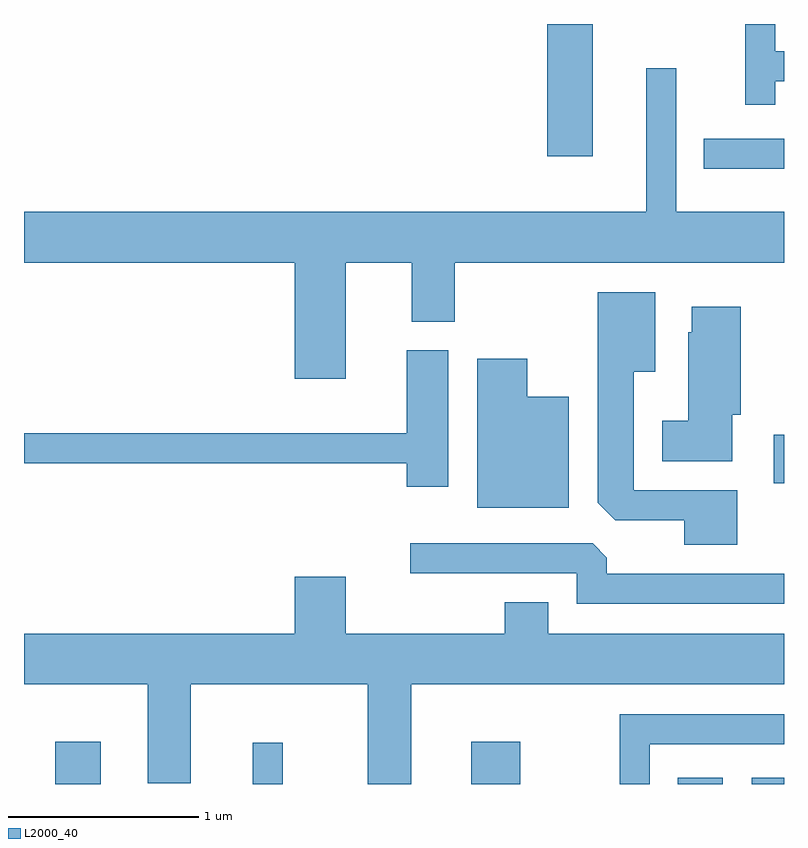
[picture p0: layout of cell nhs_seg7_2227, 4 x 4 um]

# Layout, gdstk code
import gdstk
lib = gdstk.Library(unit=1e-6, precision=1e-09)
def R(c, l, rs):  # rectangles x0, y0, x1, y1
    for r in rs: c.add(gdstk.rectangle(r[:2], r[2:], *l))
def P(c, l, *ps):  # polygons
    for p in ps: c.add(gdstk.Polygon(p, *l))
L2000_40 = (2000, 40)

nhs_seg7_2227 = lib.new_cell('nhs_seg7_2227')
R(nhs_seg7_2227, L2000_40, [(253.776,1698.252,254.014,1698.474), (254.816,1698.252,254.974,1698.468), (255.966,1698.252,256.224,1698.474), (257.053,1698.252,257.289,1698.284), (257.441,1698.252,257.611,1698.284), (257.556,1699.836,257.611,1700.089), (257.188,1701.491,257.611,1701.649), (256.366,1701.556,256.604,1702.252)])
P(nhs_seg7_2227, L2000_40, [(257.564,1701.951),(257.611,1701.951),(257.611,1702.109),(257.564,1702.109),(257.564,1702.252),(257.406,1702.252),(257.406,1701.828),(257.564,1701.828)],
  [(255.304,1700.996),(255.651,1700.996),(255.651,1700.686),(255.879,1700.686),(255.879,1700.996),(257.611,1700.996),(257.611,1701.264),(257.044,1701.264),(257.044,1702.018),(256.886,1702.018),(256.886,1701.264),(253.611,1701.264),(253.611,1700.996),(255.036,1700.996),(255.036,1700.386),(255.304,1700.386)],
  [(257.364,1699.799),(256.819,1699.799),(256.819,1700.421),(256.934,1700.421),(256.934,1700.839),(256.631,1700.839),(256.631,1699.732),(256.722,1699.641),(257.086,1699.641),(257.086,1699.511),(257.364,1699.511)],
  [(257.339,1700.196),(257.384,1700.196),(257.384,1700.764),(257.126,1700.764),(257.126,1700.629),(257.106,1700.629),(257.106,1700.164),(256.971,1700.164),(256.971,1699.951),(257.339,1699.951)],
  [(255.844,1700.534),(255.626,1700.534),(255.626,1700.099),(253.611,1700.099),(253.611,1699.941),(255.626,1699.941),(255.626,1699.816),(255.844,1699.816)],
  [(256.479,1700.289),(256.259,1700.289),(256.259,1700.489),(255.996,1700.489),(255.996,1699.706),(256.479,1699.706)],
  [(257.611,1699.359),(256.679,1699.359),(256.679,1699.444),(256.604,1699.519),(255.643,1699.519),(255.643,1699.361),(256.521,1699.361),(256.521,1699.201),(257.611,1699.201)],
  [(255.649,1698.776),(257.611,1698.776),(257.611,1699.044),(256.369,1699.044),(256.369,1699.209),(256.141,1699.209),(256.141,1699.044),(255.304,1699.044),(255.304,1699.344),(255.036,1699.344),(255.036,1699.044),(253.611,1699.044),(253.611,1698.776),(254.261,1698.776),(254.261,1698.256),(254.489,1698.256),(254.489,1698.776),(255.421,1698.776),(255.421,1698.252),(255.649,1698.252)],
  [(256.904,1698.461),(257.611,1698.461),(257.611,1698.619),(256.746,1698.619),(256.746,1698.252),(256.904,1698.252)])

lib.write_gds('nhs_seg7_2227.gds')
